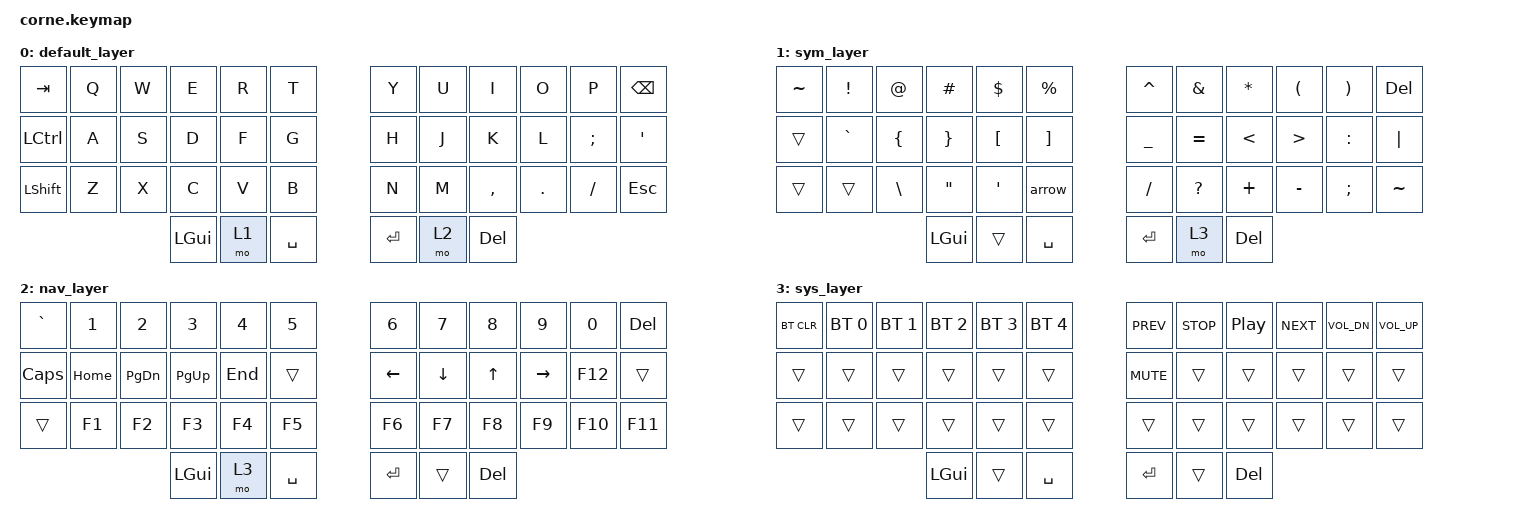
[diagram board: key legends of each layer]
/*
 * Frontend Developer Layout — Corne MX (Matvey Keyboard)
 *
 * Thumbs: [ GUI | SYM | Space ]   [ Enter | NAV | Del ]
 *
 * Layer 0: Base — QWERTY
 * Layer 1: SYM  — JS/TS/JSX/CSS: {}, [], (), <>, "", '', `, =>, ;, :, @, $, #
 * Layer 2: NAV  — Цифры, стрелки, F-клавиши
 * Layer 3: SYS  — Bluetooth + медиаклавиши (SYM + NAV одновременно)
 */

#include <behaviors.dtsi>
#include <dt-bindings/zmk/keys.h>
#include <dt-bindings/zmk/bt.h>

/ {
    macros {
        arrow: arrow {
            compatible = "zmk,behavior-macro";
            #binding-cells = <0>;
            bindings = <&kp EQUAL &kp GT>;
        };
    };

    keymap {
        compatible = "zmk,keymap";

        default_layer {
// ╭──────┬─────┬─────┬─────┬─────┬─────╮   ╭─────┬─────┬─────┬─────┬─────┬──────╮
// │ TAB  │  Q  │  W  │  E  │  R  │  T  │   │  Y  │  U  │  I  │  O  │  P  │ BSPC │
// │ CTRL │  A  │  S  │  D  │  F  │  G  │   │  H  │  J  │  K  │  L  │  ;  │  '   │
// │ SHFT │  Z  │  X  │  C  │  V  │  B  │   │  N  │  M  │  ,  │  .  │  /  │ ESC  │
// ╰──────┴─────┴─────┼─────┼─────┼─────┤   ├─────┼─────┼─────┴─────┴─────┴──────╯
//                    │ GUI │ SYM │ SPC │   │ ENT │ NAV │ DEL │
//                    ╰─────┴─────┴─────╯   ╰─────┴─────┴─────╯
            bindings = <
   &kp TAB    &kp Q  &kp W  &kp E  &kp R  &kp T    &kp Y  &kp U  &kp I      &kp O    &kp P     &kp BSPC
   &kp LCTRL  &kp A  &kp S  &kp D  &kp F  &kp G    &kp H  &kp J  &kp K      &kp L    &kp SEMI  &kp SQT
   &kp LSHFT  &kp Z  &kp X  &kp C  &kp V  &kp B    &kp N  &kp M  &kp COMMA  &kp DOT  &kp FSLH  &kp ESC
                          &kp LGUI  &mo 1  &kp SPACE    &kp RET  &mo 2  &kp DEL
            >;
        };

        sym_layer {
// JS/TS/JSX/CSS symbols — оптимизировано для фронтенд-разработчика
// ╭──────┬─────┬─────┬─────┬─────┬─────╮   ╭─────┬─────┬─────┬─────┬─────┬──────╮
// │  ~   │  !  │  @  │  #  │  $  │  %  │   │  ^  │  &  │  *  │  (  │  )  │ DEL  │
// │      │  `  │  {  │  }  │  [  │  ]  │   │  _  │  =  │  <  │  >  │  :  │  |   │
// │      │     │  \  │  "  │  '  │ =>  │   │  /  │  ?  │  +  │  -  │  ;  │  ~   │
// ╰──────┴─────┴─────┼─────┼─────┼─────┤   ├─────┼─────┼─────┴─────┴─────┴──────╯
//                    │ GUI │ --- │ SPC │   │ ENT │ SYS │ DEL │
//                    ╰─────┴─────┴─────╯   ╰─────┴─────┴─────╯
//
// <> на home row правой руки — JSX-теги (<div>), дженерики TS (Array<T>)
// {}, [] на home row левой руки — объекты, деструктуризация, массивы
// `  на home row левой руки — template literals (`${...}`)
// => на нижнем ряду — стрелочные функции (const f = () => {})
// "", '' на нижнем ряду — строки; : и ; на home row/нижнем ряду — типы TS, конец выражения
            bindings = <
   &kp TILDE  &kp EXCL   &kp AT    &kp HASH  &kp DLLR  &kp PRCNT    &kp CARET  &kp AMPS   &kp ASTRK  &kp LPAR   &kp RPAR   &kp DEL
   &trans     &kp GRAVE  &kp LBRC  &kp RBRC  &kp LBKT  &kp RBKT     &kp UNDER  &kp EQUAL  &kp LT     &kp GT     &kp COLON  &kp PIPE
   &trans     &trans     &kp BSLH  &kp DQT   &kp SQT   &arrow       &kp FSLH   &kp QMARK  &kp PLUS   &kp MINUS  &kp SEMI   &kp TILDE
                                   &kp LGUI  &trans    &kp SPACE    &kp RET    &mo 3      &kp DEL
            >;
        };

        nav_layer {
// ╭──────┬─────┬─────┬─────┬─────┬─────╮   ╭─────┬─────┬─────┬─────┬─────┬──────╮
// │  `   │  1  │  2  │  3  │  4  │  5  │   │  6  │  7  │  8  │  9  │  0  │ DEL  │
// │ CAPS │HOME │ PgDn│ PgUp│ END │     │   │  ←  │  ↓  │  ↑  │  →  │ F12 │      │
// │      │ F1  │ F2  │ F3  │ F4  │ F5  │   │ F6  │ F7  │ F8  │ F9  │ F10 │ F11  │
// ╰──────┴─────┴─────┼─────┼─────┼─────┤   ├─────┼─────┼─────┴─────┴─────┴──────╯
//                    │ GUI │ SYS │ SPC │   │ ENT │ --- │ DEL │
//                    ╰─────┴─────┴─────╯   ╰─────┴─────┴─────╯
//
// Стрелки: H/J/K/L (vim-style) — ← ↓ ↑ →
// F12 на home row: быстрый доступ для отладчика/Go to Definition в IDE
            bindings = <
   &kp GRAVE  &kp N1    &kp N2     &kp N3     &kp N4   &kp N5      &kp N6    &kp N7    &kp N8  &kp N9     &kp N0   &kp DEL
   &kp CLCK   &kp HOME  &kp PG_DN  &kp PG_UP  &kp END  &trans      &kp LEFT  &kp DOWN  &kp UP  &kp RIGHT  &kp F12  &trans
   &trans     &kp F1    &kp F2     &kp F3     &kp F4   &kp F5      &kp F6    &kp F7    &kp F8  &kp F9     &kp F10  &kp F11
                                   &kp LGUI   &mo 3    &kp SPACE   &kp RET   &trans    &kp DEL
            >;
        };

        sys_layer {
// BLE управление + медиаклавиши (SYM + NAV одновременно)
// ╭──────┬─────┬─────┬─────┬─────┬─────╮   ╭─────┬─────┬─────┬─────┬─────┬──────╮
// │BTCLR │ BT1 │ BT2 │ BT3 │ BT4 │ BT5 │   │PREV │STOP │ PP  │NEXT │VOL- │ VOL+ │
// │      │     │     │     │     │     │   │MUTE │     │     │     │     │      │
// │      │     │     │     │     │     │   │     │     │     │     │     │      │
// ╰──────┴─────┴─────┼─────┼─────┼─────┤   ├─────┼─────┼─────┴─────┴─────┴──────╯
//                    │ GUI │ --- │ SPC │   │ ENT │ --- │ DEL │
//                    ╰─────┴─────┴─────╯   ╰─────┴─────┴─────╯
//
// PP — Play/Pause; PREV/NEXT — предыдущий/следующий трек; VOL-/VOL+ — громкость
            bindings = <
   &bt BT_CLR  &bt BT_SEL 0  &bt BT_SEL 1  &bt BT_SEL 2  &bt BT_SEL 3  &bt BT_SEL 4    &kp C_PREV  &kp C_STOP  &kp C_PP  &kp C_NEXT  &kp C_VOL_DN  &kp C_VOL_UP
   &trans      &trans        &trans        &trans        &trans        &trans          &kp C_MUTE  &trans      &trans    &trans      &trans        &trans
   &trans      &trans        &trans        &trans        &trans        &trans          &trans      &trans      &trans    &trans      &trans        &trans
                                           &kp LGUI      &trans        &kp SPACE       &kp RET &trans  &kp DEL
            >;
        };
    };
};
